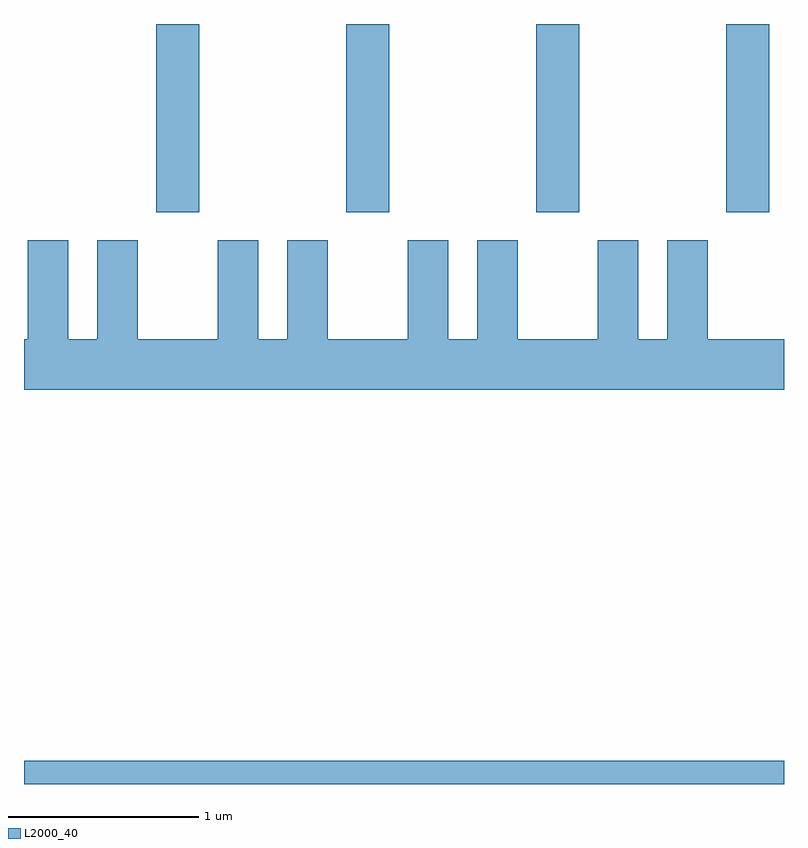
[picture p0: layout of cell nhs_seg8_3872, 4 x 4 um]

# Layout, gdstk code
import gdstk
lib = gdstk.Library(unit=1e-6, precision=1e-09)
def R(c, l, rs):  # rectangles x0, y0, x1, y1
    for r in rs: c.add(gdstk.rectangle(r[:2], r[2:], *l))
def A(c, l, x, y, w, h, nx, ny, dx, dy):  # array of equal rectangles
    R(c, l, [(x+i*dx, y+j*dy, x+i*dx+w, y+j*dy+h) for i in range(nx) for j in range(ny)])
def P(c, l, *ps):  # polygons
    for p in ps: c.add(gdstk.Polygon(p, *l))
L2000_40 = (2000, 40)

nhs_seg8_3872 = lib.new_cell('nhs_seg8_3872')
A(nhs_seg8_3872, L2000_40, 302.306, 1837.351, 0.228, 0.991, 4, 1, 1, 0)
R(nhs_seg8_3872, L2000_40, [(301.611,1834.342,305.611,1834.464)])
P(nhs_seg8_3872, L2000_40, [(305.611,1836.684),(305.209,1836.684),(305.209,1837.204),(304.996,1837.204),(304.996,1836.684),(304.844,1836.684),(304.844,1837.204),(304.631,1837.204),(304.631,1836.684),(304.209,1836.684),(304.209,1837.204),(303.996,1837.204),(303.996,1836.684),(303.844,1836.684),(303.844,1837.204),(303.631,1837.204),(303.631,1836.684),(303.209,1836.684),(303.209,1837.204),(302.996,1837.204),(302.996,1836.684),(302.844,1836.684),(302.844,1837.204),(302.631,1837.204),(302.631,1836.684),(302.209,1836.684),(302.209,1837.204),(301.996,1837.204),(301.996,1836.684),(301.844,1836.684),(301.844,1837.204),(301.631,1837.204),(301.631,1836.684),(301.611,1836.684),(301.611,1836.416),(305.611,1836.416)])

lib.write_gds('nhs_seg8_3872.gds')
